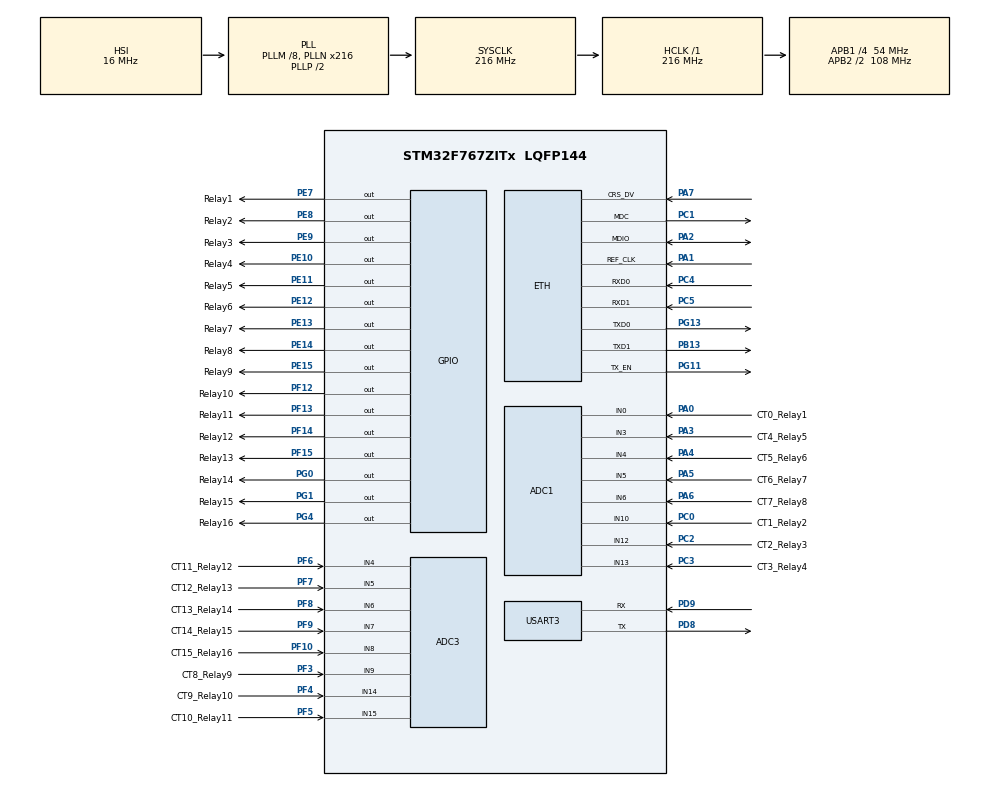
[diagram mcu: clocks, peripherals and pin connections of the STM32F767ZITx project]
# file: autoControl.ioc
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ADC1.Channel-0\#ChannelRegularConversion=ADC_CHANNEL_0
ADC1.Channel-13\#ChannelRegularConversion=ADC_CHANNEL_10
ADC1.Channel-14\#ChannelRegularConversion=ADC_CHANNEL_12
ADC1.Channel-15\#ChannelRegularConversion=ADC_CHANNEL_13
ADC1.Channel-16\#ChannelRegularConversion=ADC_CHANNEL_3
ADC1.Channel-17\#ChannelRegularConversion=ADC_CHANNEL_4
ADC1.Channel-18\#ChannelRegularConversion=ADC_CHANNEL_5
ADC1.Channel-19\#ChannelRegularConversion=ADC_CHANNEL_6
ADC1.Channel-20\#ChannelRegularConversion=ADC_CHANNEL_VREFINT
ADC1.DMAContinuousRequests=ENABLE
ADC1.EOCSelection=ADC_EOC_SINGLE_CONV
ADC1.ExternalTrigConv=ADC_EXTERNALTRIGCONV_T2_TRGO
ADC1.ExternalTrigConvEdge=ADC_EXTERNALTRIGCONVEDGE_RISING
ADC1.InjNumberOfConversion=0
ADC1.NbrOfConversion=9
ADC1.NbrOfConversionFlag=2
ADC1.Rank-0\#ChannelRegularConversion=1
ADC1.Rank-13\#ChannelRegularConversion=2
ADC1.Rank-14\#ChannelRegularConversion=3
ADC1.Rank-15\#ChannelRegularConversion=4
ADC1.Rank-16\#ChannelRegularConversion=5
ADC1.Rank-17\#ChannelRegularConversion=6
ADC1.Rank-18\#ChannelRegularConversion=7
ADC1.Rank-19\#ChannelRegularConversion=8
ADC1.Rank-20\#ChannelRegularConversion=9
ADC1.SamplingTime-0\#ChannelRegularConversion=ADC_SAMPLETIME_144CYCLES
ADC1.SamplingTime-13\#ChannelRegularConversion=ADC_SAMPLETIME_144CYCLES
ADC1.SamplingTime-14\#ChannelRegularConversion=ADC_SAMPLETIME_144CYCLES
ADC1.SamplingTime-15\#ChannelRegularConversion=ADC_SAMPLETIME_144CYCLES
ADC1.SamplingTime-16\#ChannelRegularConversion=ADC_SAMPLETIME_144CYCLES
ADC1.SamplingTime-17\#ChannelRegularConversion=ADC_SAMPLETIME_144CYCLES
ADC1.SamplingTime-18\#ChannelRegularConversion=ADC_SAMPLETIME_144CYCLES
ADC1.SamplingTime-19\#ChannelRegularConversion=ADC_SAMPLETIME_144CYCLES
ADC1.SamplingTime-20\#ChannelRegularConversion=ADC_SAMPLETIME_480CYCLES
ADC1.ScanConvMode=ADC_SCAN_ENABLE
ADC1.master=1
ADC3.Channel-0\#ChannelRegularConversion=ADC_CHANNEL_9
ADC3.Channel-1\#ChannelRegularConversion=ADC_CHANNEL_14
ADC3.Channel-2\#ChannelRegularConversion=ADC_CHANNEL_15
ADC3.Channel-3\#ChannelRegularConversion=ADC_CHANNEL_4
ADC3.Channel-4\#ChannelRegularConversion=ADC_CHANNEL_5
ADC3.Channel-5\#ChannelRegularConversion=ADC_CHANNEL_6
ADC3.Channel-6\#ChannelRegularConversion=ADC_CHANNEL_7
ADC3.Channel-7\#ChannelRegularConversion=ADC_CHANNEL_8
ADC3.DMAContinuousRequests=ENABLE
ADC3.ExternalTrigConv=ADC_EXTERNALTRIGCONV_T2_TRGO
ADC3.NbrOfConversion=8
ADC3.NbrOfConversionFlag=1
ADC3.Rank-0\#ChannelRegularConversion=1
ADC3.Rank-1\#ChannelRegularConversion=2
ADC3.Rank-2\#ChannelRegularConversion=3
ADC3.Rank-3\#ChannelRegularConversion=4
ADC3.Rank-4\#ChannelRegularConversion=5
ADC3.Rank-5\#ChannelRegularConversion=6
ADC3.Rank-6\#ChannelRegularConversion=7
ADC3.Rank-7\#ChannelRegularConversion=8
ADC3.SamplingTime-0\#ChannelRegularConversion=ADC_SAMPLETIME_144CYCLES
ADC3.SamplingTime-1\#ChannelRegularConversion=ADC_SAMPLETIME_144CYCLES
ADC3.SamplingTime-2\#ChannelRegularConversion=ADC_SAMPLETIME_144CYCLES
ADC3.SamplingTime-3\#ChannelRegularConversion=ADC_SAMPLETIME_144CYCLES
ADC3.SamplingTime-4\#ChannelRegularConversion=ADC_SAMPLETIME_144CYCLES
ADC3.SamplingTime-5\#ChannelRegularConversion=ADC_SAMPLETIME_144CYCLES
ADC3.SamplingTime-6\#ChannelRegularConversion=ADC_SAMPLETIME_144CYCLES
ADC3.SamplingTime-7\#ChannelRegularConversion=ADC_SAMPLETIME_144CYCLES
CORTEX_M7.CPU_DCache=Disabled
CORTEX_M7.CPU_ICache=Enabled
CORTEX_M7.default_mode_Activation=1
Dma.ADC1.0.Direction=DMA_PERIPH_TO_MEMORY
Dma.ADC1.0.FIFOMode=DMA_FIFOMODE_DISABLE
Dma.ADC1.0.Instance=DMA2_Stream0
Dma.ADC1.0.MemDataAlignment=DMA_MDATAALIGN_HALFWORD
Dma.ADC1.0.MemInc=DMA_MINC_ENABLE
Dma.ADC1.0.Mode=DMA_CIRCULAR
Dma.ADC1.0.PeriphDataAlignment=DMA_PDATAALIGN_HALFWORD
Dma.ADC1.0.PeriphInc=DMA_PINC_DISABLE
Dma.ADC1.0.Priority=DMA_PRIORITY_HIGH
Dma.ADC3.1.Direction=DMA_PERIPH_TO_MEMORY
Dma.ADC3.1.FIFOMode=DMA_FIFOMODE_DISABLE
Dma.ADC3.1.Instance=DMA2_Stream1
Dma.ADC3.1.MemDataAlignment=DMA_MDATAALIGN_HALFWORD
Dma.ADC3.1.MemInc=DMA_MINC_ENABLE
Dma.ADC3.1.Mode=DMA_CIRCULAR
Dma.ADC3.1.PeriphDataAlignment=DMA_PDATAALIGN_HALFWORD
Dma.ADC3.1.PeriphInc=DMA_PINC_DISABLE
Dma.ADC3.1.Priority=DMA_PRIORITY_HIGH
Dma.Request0=ADC1
Dma.Request1=ADC3
ETH.MediaInterface=HAL_ETH_RMII_MODE
FREERTOS.Tasks01=defaultTask,0,2048,StartDefaultTask,Default,NULL,Dynamic,NULL,NULL
LWIP.BSP.number=1
LWIP.Version=v2.1.2_Cube
LWIP0.BSP.STBoard=false
LWIP0.BSP.api=BSP_COMPONENT_DRIVER
LWIP0.BSP.component=LAN8742
LWIP0.BSP.instance=LAN8742
LWIP0.BSP.name=Driver_PHY
LWIP0.BSP.semaphore=S_LAN8742
LWIP0.BSP.solution=LAN8742
Mcu.Family=STM32F7
Mcu.Name=STM32F767ZITx
Mcu.Package=LQFP144
NVIC.DMA2_Stream0_IRQn=true\:5\:0\:true\:false\:true\:true\:false\:true\:true
NVIC.DMA2_Stream1_IRQn=true\:5\:0\:false\:false\:true\:true\:false\:true\:true
NVIC.ETH_IRQn=true\:5\:0\:false\:false\:true\:true\:false\:true\:true
NVIC.PriorityGroup=NVIC_PRIORITYGROUP_4
NVIC.TIM6_DAC_IRQn=true\:15\:0\:false\:false\:true\:false\:false\:true\:true
NVIC.TimeBase=TIM6_DAC_IRQn
NVIC.TimeBaseIP=TIM6
PA0/WKUP.GPIO_Label=CT0_Relay1
PA0/WKUP.Signal=ADCx_IN0
PA1.Mode=RMII
PA1.Signal=ETH_REF_CLK
PA13.Mode=Serial_Wire
PA13.Signal=SYS_JTMS-SWDIO
PA14.Mode=Serial_Wire
PA14.Signal=SYS_JTCK-SWCLK
PA2.Mode=RMII
PA2.Signal=ETH_MDIO
PA3.GPIO_Label=CT4_Relay5
PA3.Signal=ADCx_IN3
PA4.GPIO_Label=CT5_Relay6
PA4.Signal=ADCx_IN4
PA5.GPIO_Label=CT6_Relay7
PA5.Signal=ADCx_IN5
PA6.GPIO_Label=CT7_Relay8
PA6.Signal=ADCx_IN6
PA7.Mode=RMII
PA7.Signal=ETH_CRS_DV
PB13.Mode=RMII
PB13.Signal=ETH_TXD1
PC0.GPIO_Label=CT1_Relay2
PC0.Signal=ADCx_IN10
PC1.Mode=RMII
PC1.Signal=ETH_MDC
PC14/OSC32_IN.Mode=LSE-External-Oscillator
PC14/OSC32_IN.Signal=RCC_OSC32_IN
PC15/OSC32_OUT.Mode=LSE-External-Oscillator
PC15/OSC32_OUT.Signal=RCC_OSC32_OUT
PC2.GPIO_Label=CT2_Relay3
PC2.Signal=ADCx_IN12
PC3.GPIO_Label=CT3_Relay4
PC3.Signal=ADCx_IN13
PC4.Mode=RMII
PC4.Signal=ETH_RXD0
PC5.Mode=RMII
PC5.Signal=ETH_RXD1
PD8.Mode=Asynchronous
PD8.Signal=USART3_TX
PD9.Mode=Asynchronous
PD9.Signal=USART3_RX
PE10.GPIO_Label=Relay4
PE10.Signal=GPIO_Output
PE11.GPIO_Label=Relay5
PE11.Signal=GPIO_Output
PE12.GPIO_Label=Relay6
PE12.Signal=GPIO_Output
PE13.GPIO_Label=Relay7
PE13.Signal=GPIO_Output
PE14.GPIO_Label=Relay8
PE14.Signal=GPIO_Output
PE15.GPIO_Label=Relay9
PE15.Signal=GPIO_Output
PE7.GPIO_Label=Relay1
PE7.Signal=GPIO_Output
PE8.GPIO_Label=Relay2
PE8.Signal=GPIO_Output
PE9.GPIO_Label=Relay3
PE9.Signal=GPIO_Output
PF10.Mode=IN8
PF10.GPIO_Label=CT15_Relay16
PF10.Signal=ADC3_IN8
PF12.GPIO_Label=Relay10
PF12.Signal=GPIO_Output
PF13.GPIO_Label=Relay11
PF13.Signal=GPIO_Output
PF14.GPIO_Label=Relay12
PF14.Signal=GPIO_Output
PF15.GPIO_Label=Relay13
PF15.Signal=GPIO_Output
PF3.Mode=IN9
PF3.GPIO_Label=CT8_Relay9
PF3.Signal=ADC3_IN9
PF4.Mode=IN14
PF4.GPIO_Label=CT9_Relay10
PF4.Signal=ADC3_IN14
PF5.Mode=IN15
PF5.GPIO_Label=CT10_Relay11
PF5.Signal=ADC3_IN15
PF6.Mode=IN4
PF6.GPIO_Label=CT11_Relay12
PF6.Signal=ADC3_IN4
PF7.Mode=IN5
PF7.GPIO_Label=CT12_Relay13
PF7.Signal=ADC3_IN5
PF8.Mode=IN6
PF8.GPIO_Label=CT13_Relay14
PF8.Signal=ADC3_IN6
PF9.Mode=IN7
PF9.GPIO_Label=CT14_Relay15
PF9.Signal=ADC3_IN7
PG0.GPIO_Label=Relay14
PG0.Signal=GPIO_Output
PG1.GPIO_Label=Relay15
PG1.Signal=GPIO_Output
PG11.Mode=RMII
PG11.Signal=ETH_TX_EN
PG13.Mode=RMII
PG13.Signal=ETH_TXD0
PG4.GPIO_Label=Relay16
PG4.Signal=GPIO_Output
PH0/OSC_IN.Mode=HSE-External-Oscillator
PH0/OSC_IN.Signal=RCC_OSC_IN
PH1/OSC_OUT.Mode=HSE-External-Oscillator
PH1/OSC_OUT.Signal=RCC_OSC_OUT
ProjectManager.HeapSize=0x200
ProjectManager.StackSize=0x400
ProjectManager.TargetToolchain=MDK-ARM V5.32
RCC.AHBFreq_Value=216000000
RCC.APB1CLKDivider=RCC_HCLK_DIV4
RCC.APB1Freq_Value=54000000
RCC.APB1TimFreq_Value=108000000
RCC.APB2CLKDivider=RCC_HCLK_DIV2
RCC.APB2Freq_Value=108000000
RCC.APB2TimFreq_Value=216000000
RCC.CortexFreq_Value=216000000
RCC.HCLKFreq_Value=216000000
RCC.HSE_VALUE=25000000
RCC.HSI_VALUE=16000000
RCC.PLLM=8
RCC.PLLN=216
RCC.PLLQ=9
RCC.RTCClockSelection=RCC_RTCCLKSOURCE_LSE
RCC.SYSCLKFreq_VALUE=216000000
RCC.SYSCLKSource=RCC_SYSCLKSOURCE_PLLCLK
RCC.USBFreq_Value=48000000
RCC.VCOOutputFreq_Value=432000000
SH.ADCx_IN0.0=ADC1_IN0,IN0
SH.ADCx_IN10.0=ADC1_IN10,IN10
SH.ADCx_IN12.0=ADC1_IN12,IN12
SH.ADCx_IN13.0=ADC1_IN13,IN13
SH.ADCx_IN3.0=ADC1_IN3,IN3
SH.ADCx_IN4.0=ADC1_IN4,IN4
SH.ADCx_IN5.0=ADC1_IN5,IN5
SH.ADCx_IN6.0=ADC1_IN6,IN6
TIM2.MasterOutputTrigger=TIM_TRGO_UPDATE
TIM2.Period=499
TIM2.Prescaler=107
TIM2.TIM_MasterOutputTrigger=TIM_TRGO_UPDATE
USART3.VirtualMode-Asynchronous=VM_ASYNC
VP_ADC1_Vref_Input.Mode=IN-Vrefint
VP_FREERTOS_VS_CMSIS_V1.Mode=CMSIS_V1
VP_LWIP_VS_Enabled.Mode=Enabled
VP_MBEDTLS_VS_MBEDTLS.Mode=Enabled
VP_RNG_VS_RNG.Mode=RNG_Activate
VP_RTC_VS_RTC_Activate.Mode=RTC_Enabled
VP_SYS_VS_tim6.Mode=TIM6
VP_TIM2_VS_ClockSourceINT.Mode=Internal
board=custom

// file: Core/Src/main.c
/* USER CODE BEGIN Header */
/**
  ******************************************************************************
  * @file           : main.c
  * @brief          : Main program body
  ******************************************************************************
  * @attention
  *
  * Copyright (c) 2026 STMicroelectronics.
  * All rights reserved.
  *
  * This software is licensed under terms that can be found in the LICENSE file
  * in the root directory of this software component.
  * If no LICENSE file comes with this software, it is provided AS-IS.
  *
  ******************************************************************************
  */
/* USER CODE END Header */
#include "main.h"
#include "cmsis_os.h"
#include "lwip.h"
#include "mbedtls.h"

/* USER CODE BEGIN Includes */
#include <stdio.h>
#include <string.h>
#include "board_relay.h"
#include "cluster_service.h"
#include "../../App/Config/device_config.h"
#include "http_service.h"
#include "control_service.h"
#include "mqtt_link_service.h"
#include "discovery_service.h"
#include "adc_service.h"
#include "relay_protection.h"
#include "scheduler.h"
#include "time_sync_service.h"
#include "https_client_service.h"
#include "lwip/stats.h"
#include "lwip/dhcp.h"
#include "lwip/ip4_addr.h"
#include "lwip/prot/dhcp.h"
#include "stm32f7xx_hal_eth.h"
#include "lan8742.h"
#include "FreeRTOS.h"
#include "portable.h"
#include "task.h"

/* USER CODE END Includes */

ADC_HandleTypeDef hadc1;
DMA_HandleTypeDef hdma_adc1;
ADC_HandleTypeDef hadc3;
DMA_HandleTypeDef hdma_adc3;

RNG_HandleTypeDef hrng;

RTC_HandleTypeDef hrtc;

TIM_HandleTypeDef htim2;

UART_HandleTypeDef huart3;

osThreadId defaultTaskHandle;
/* USER CODE BEGIN PV */
extern struct netif gnetif;
extern ETH_HandleTypeDef heth;
extern lan8742_Object_t LAN8742;
extern volatile uint32_t g_eth_irq_count;
extern volatile uint32_t g_eth_rx_cplt_count;
extern volatile uint32_t g_eth_link_thread_started;
extern volatile uint32_t g_eth_link_thread_loops;
extern volatile int32_t g_eth_last_phy_link_state;
extern volatile uint32_t g_eth_link_up_events;
extern volatile uint32_t g_eth_link_down_events;
extern volatile int32_t g_eth_phy_disable_power_status;
extern volatile int32_t g_eth_phy_start_autoneg_status;
extern volatile uint32_t g_eth_phy_bcr_after_cfg;
extern volatile uint32_t g_eth_phy_bsr_after_cfg;
extern volatile uint32_t g_eth_phy_physcsr_after_cfg;
extern volatile uint32_t g_eth_phy_retry_count;
extern volatile int32_t g_eth_phy_forced_mode;
extern volatile uint32_t g_eth_tx_packets;
extern volatile uint32_t g_eth_tx_free_packets;

static char g_uart_message[384];
static char g_ip_text[16];
static char g_mask_text[16];
static char g_gw_text[16];
static uint32_t next_dhcp_report_ms = 0U;
static const uint32_t g_dhcp_report_interval_ms = 2000U;
static uint8_t g_last_link_up = 0xFFU;
static uint8_t g_last_dhcp_bound = 0xFFU;
static uint8_t g_last_dhcp_state = 0xFFU;

/* USER CODE END PV */

void SystemClock_Config(void);
static void MPU_Config(void);
static void MX_GPIO_Init(void);
static void MX_DMA_Init(void);
static void MX_ADC1_Init(void);
static void MX_ADC3_Init(void);
static void MX_TIM2_Init(void);
static void MX_USART3_UART_Init(void);
static void MX_RNG_Init(void);
static void MX_RTC_Init(void);
void StartDefaultTask(void const * argument);

/* USER CODE BEGIN PFP */
static void uart3_write(const char *text);
void lwip_platform_assert(const char *msg, int line, const char *file);
static void log_startup_banner(void);
static const char *dhcp_state_to_string(uint8_t state);
static void log_link_state(uint8_t link_up);
static void log_dhcp_state(void);
static void disable_unaligned_trap_for_lwip(void);
__attribute__((noinline, optnone, used)) static void aeabi_copy_bytes_forward(void *dst, const void *src, size_t len);
__attribute__((noinline, optnone, used)) static void aeabi_move_bytes_safe(void *dst, const void *src, size_t len);
void __aeabi_memcpy(void *dest, const void *src, size_t n);
void __aeabi_memcpy4(void *dest, const void *src, size_t n);
void __aeabi_memcpy8(void *dest, const void *src, size_t n);
void __aeabi_memmove(void *dest, const void *src, size_t n);
void __aeabi_memmove4(void *dest, const void *src, size_t n);
void __aeabi_memmove8(void *dest, const void *src, size_t n);

__asm(".global __use_no_semihosting_swi");

/* USER CODE END PFP */

/* USER CODE BEGIN 0 */
__attribute__((noinline, optnone, used)) static void aeabi_copy_bytes_forward(void *dst, const void *src, size_t len)
{
  volatile uint8_t *dst_bytes = (volatile uint8_t *)dst;
  const volatile uint8_t *src_bytes = (const volatile uint8_t *)src;
  size_t i;

  for (i = 0U; i < len; ++i)
  {
    dst_bytes[i] = src_bytes[i];
  }
}

__attribute__((noinline, optnone, used)) static void aeabi_move_bytes_safe(void *dst, const void *src, size_t len)
{
  volatile uint8_t *dst_bytes = (volatile uint8_t *)dst;
  const volatile uint8_t *src_bytes = (const volatile uint8_t *)src;
  size_t i;

  if ((dst_bytes == src_bytes) || (len == 0U))
  {
    return;
  }

  if (dst_bytes < src_bytes)
  {
    aeabi_copy_bytes_forward((void *)dst_bytes, (const void *)src_bytes, len);
    return;
  }

  for (i = len; i > 0U; --i)
  {
    dst_bytes[i - 1U] = src_bytes[i - 1U];
  }
}

void __aeabi_memcpy(void *dest, const void *src, size_t n)
{
  aeabi_copy_bytes_forward(dest, src, n);
}

void __aeabi_memcpy4(void *dest, const void *src, size_t n)
{
  aeabi_copy_bytes_forward(dest, src, n);
}

void __aeabi_memcpy8(void *dest, const void *src, size_t n)
{
  aeabi_copy_bytes_forward(dest, src, n);
}

void __aeabi_memmove(void *dest, const void *src, size_t n)
{
  aeabi_move_bytes_safe(dest, src, n);
}

void __aeabi_memmove4(void *dest, const void *src, size_t n)
{
  aeabi_move_bytes_safe(dest, src, n);
}

void __aeabi_memmove8(void *dest, const void *src, size_t n)
{
  aeabi_move_bytes_safe(dest, src, n);
}

static void uart3_write(const char *text)
{
  size_t len = strlen(text);

  if (len > 0U)
  {
    (void)HAL_UART_Transmit(&huart3, (uint8_t *)text, (uint16_t)len, 100U);
  }
}

int fputc(int ch, FILE *f)
{
  uint8_t byte = (uint8_t)ch;
  (void)f;

  if (huart3.Instance != NULL)
  {
    (void)HAL_UART_Transmit(&huart3, &byte, 1U, 10U);
  }

  return ch;
}

void _ttywrch(int ch)
{
  (void)fputc(ch, stdout);
}

void _sys_exit(int return_code)
{
  (void)return_code;
  while (1)
  {
  }
}

void lwip_platform_assert(const char *msg, int line, const char *file)
{
  (void)snprintf(g_uart_message, sizeof(g_uart_message),
                 "\r\n[lwip] assert \"%s\" line=%d file=%s\r\n",
                 (msg != NULL) ? msg : "?",
                 line,
                 (file != NULL) ? file : "?");
  uart3_write(g_uart_message);
}

static void log_startup_banner(void)
{
  cluster_service_state_t cluster_state;

  cluster_service_get_state(&cluster_state);
  (void)snprintf(g_uart_message, sizeof(g_uart_message),
                 "[boot] rtc lse=%u source=%u quality=%u bdcr=0x%08lX drive=%lu bypass=%u\r\n",
                 (unsigned int)cluster_state.rtc_lse_ready,
                 (unsigned int)cluster_state.time_source,
                 (unsigned int)cluster_state.time_quality,
                 (unsigned long)RCC->BDCR,
                 (unsigned long)((RCC->BDCR & RCC_BDCR_LSEDRV) >>
                                 RCC_BDCR_LSEDRV_Pos),
                 (unsigned int)(((RCC->BDCR & RCC_BDCR_LSEBYP) != 0U)
                                ? 1U
                                : 0U));
  uart3_write(g_uart_message);
  uart3_write("\r\n[boot] autoControl startup complete\r\n");
}

static const char *dhcp_state_to_string(uint8_t state)
{
  switch (state)
  {
    case DHCP_STATE_OFF: return "off";
    case DHCP_STATE_REQUESTING: return "requesting";
    case DHCP_STATE_INIT: return "init";
    case DHCP_STATE_REBOOTING: return "rebooting";
    case DHCP_STATE_REBINDING: return "rebinding";
    case DHCP_STATE_RENEWING: return "renewing";
    case DHCP_STATE_SELECTING: return "selecting";
    case DHCP_STATE_INFORMING: return "informing";
    case DHCP_STATE_CHECKING: return "checking";
    case DHCP_STATE_BOUND: return "bound";
    case DHCP_STATE_RELEASING: return "releasing";
    case DHCP_STATE_BACKING_OFF: return "backing_off";
    case DHCP_STATE_PERMANENT: return "permanent";
    default: return "unknown";
  }
}

static void log_link_state(uint8_t link_up)
{
  (void)snprintf(g_uart_message, sizeof(g_uart_message),
                 (link_up != 0U) ? "[net] link up phy=%ld\r\n" : "[net] link down phy=%ld\r\n",
                 (long)g_eth_last_phy_link_state);
  uart3_write(g_uart_message);
}

static void log_dhcp_state(void)
{
  struct dhcp *dhcp = netif_dhcp_data(&gnetif);
  uint8_t bound = dhcp_supplied_address(&gnetif);
  uint8_t state = (dhcp != NULL) ? dhcp->state : DHCP_STATE_OFF;

  if (bound != 0U)
  {
    (void)ip4addr_ntoa_r(netif_ip4_addr(&gnetif), g_ip_text, sizeof(g_ip_text));
    (void)ip4addr_ntoa_r(netif_ip4_netmask(&gnetif), g_mask_text, sizeof(g_mask_text));
    (void)ip4addr_ntoa_r(netif_ip4_gw(&gnetif), g_gw_text, sizeof(g_gw_text));
    (void)snprintf(g_uart_message, sizeof(g_uart_message),
                   "[net] dhcp bound ip=%s mask=%s gw=%s\r\n",
                   g_ip_text, g_mask_text, g_gw_text);
  }
  else
  {
    (void)snprintf(g_uart_message, sizeof(g_uart_message),
                   "[net] dhcp %s\r\n",
                   dhcp_state_to_string(state));
  }
  uart3_write(g_uart_message);
}

static void disable_unaligned_trap_for_lwip(void)
{
  /*
   * armclang still emits word-sized accesses for some packed lwIP paths.
   * Keep UNALIGN_TRP cleared so a missed packed-field site does not turn
   * normal network traffic into a UsageFault during bring-up.
   */
  SCB->CCR &= ~SCB_CCR_UNALIGN_TRP_Msk;
  __DSB();
  __ISB();
}

/* USER CODE END 0 */

int main(void)
{

  /* MPU Configuration--------------------------------------------------------*/
  MPU_Config();

  /* Enable the CPU Cache */

  /* Enable I-Cache---------------------------------------------------------*/
  SCB_EnableICache();

  /* Enable D-Cache---------------------------------------------------------*/
  /* Keep D-Cache disabled while validating the ETH DMA RX/TX path. */
  /* SCB_EnableDCache(); */

  /* MCU Configuration--------------------------------------------------------*/

  /* Reset of all peripherals, Initializes the Flash interface and the Systick. */
  HAL_Init();

  /* USER CODE BEGIN Init */
  disable_unaligned_trap_for_lwip();

  /* USER CODE END Init */

  /* Configure the system clock */
  SystemClock_Config();

  /* Initialize all configured peripherals */
  MX_GPIO_Init();
  MX_DMA_Init();
  MX_ADC1_Init();
  MX_ADC3_Init();
  MX_TIM2_Init();
  MX_USART3_UART_Init();
  uart3_write("\r\n[boot] uart ready\r\n");
  uart3_write("[boot] pre relay off 1\r\n");
  (void)board_relay_apply_mask(0U);  /* hard OFF before config/protection init */
  uart3_write("[boot] post relay off 1\r\n");
  uart3_write("[boot] pre rng\r\n");
  MX_RNG_Init();
  uart3_write("[boot] post rng\r\n");
  uart3_write("[boot] pre mbedtls\r\n");
  MX_MBEDTLS_Init();
  uart3_write("[boot] post mbedtls\r\n");
  /* USER CODE BEGIN 2 */
  uart3_write("[boot] pre config\r\n");
  device_config_init();
  uart3_write("[boot] post config\r\n");
  uart3_write("[boot] pre rtc\r\n");
  MX_RTC_Init();
  uart3_write("[boot] post rtc\r\n");
  uart3_write("[boot] pre protection\r\n");
  relay_protection_init();  /* force all relays OFF before config applies startup mask */
  uart3_write("[boot] post protection\r\n");
  uart3_write("[boot] pre scheduler\r\n");
  scheduler_init();
  uart3_write("[boot] post scheduler\r\n");
  /* Startup relay mask is now managed by relay_protection:
     boot_default_on / remember_state become pending requests
     that are only applied after boot delay expires. */
  uart3_write("[boot] pre relay off 2\r\n");
  (void)board_relay_apply_mask(0U);  /* all OFF — protection module owns boot state */
  uart3_write("[boot] post relay off 2\r\n");
  uart3_write("[boot] pre cluster\r\n");
  cluster_service_init();
  uart3_write("[boot] post cluster\r\n");
  log_startup_banner();

  /* USER CODE END 2 */

  /* Create the thread(s) */
  /* definition and creation of defaultTask */
  /* defaultTask stack is now statically allocated to guard against heap-
     edge corruption of the FreeRTOS stack canary.  3072 words (12 KB)
     provides headroom for the 3616-byte device_config_t copy in save paths. */
  static StackType_t defaultTaskStack[4096];
  static StaticTask_t defaultTaskTCB;
  defaultTaskHandle = xTaskCreateStatic((TaskFunction_t)StartDefaultTask, "defaultTask",
                                        4096, NULL,
                                        osPriorityNormal, defaultTaskStack,
                                        &defaultTaskTCB);

  /* Start scheduler */
  osKernelStart();

  /* We should never get here as control is now taken by the scheduler */

  /* Infinite loop */
  while (1)
  {

  }
}

void SystemClock_Config(void)
{
  RCC_OscInitTypeDef RCC_OscInitStruct = {0};
  RCC_ClkInitTypeDef RCC_ClkInitStruct = {0};

  /** Configure the main internal regulator output voltage
  */
  __HAL_RCC_PWR_CLK_ENABLE();
  __HAL_PWR_VOLTAGESCALING_CONFIG(PWR_REGULATOR_VOLTAGE_SCALE1);

  /** Initializes the RCC Oscillators according to the specified parameters
  * in the RCC_OscInitTypeDef structure.
  */
  RCC_OscInitStruct.OscillatorType = RCC_OSCILLATORTYPE_HSI;
  RCC_OscInitStruct.HSIState = RCC_HSI_ON;
  RCC_OscInitStruct.HSICalibrationValue = RCC_HSICALIBRATION_DEFAULT;
  RCC_OscInitStruct.PLL.PLLState = RCC_PLL_ON;
  RCC_OscInitStruct.PLL.PLLSource = RCC_PLLSOURCE_HSI;
  RCC_OscInitStruct.PLL.PLLM = 8;
  RCC_OscInitStruct.PLL.PLLN = 216;
  RCC_OscInitStruct.PLL.PLLP = RCC_PLLP_DIV2;
  RCC_OscInitStruct.PLL.PLLQ = 9;
  RCC_OscInitStruct.PLL.PLLR = 2;
  if (HAL_RCC_OscConfig(&RCC_OscInitStruct) != HAL_OK)
  {
    Error_Handler();
  }

  /** Activate the Over-Drive mode
  */
  if (HAL_PWREx_EnableOverDrive() != HAL_OK)
  {
    Error_Handler();
  }

  /** Initializes the CPU, AHB and APB buses clocks
  */
  RCC_ClkInitStruct.ClockType = RCC_CLOCKTYPE_HCLK|RCC_CLOCKTYPE_SYSCLK
                              |RCC_CLOCKTYPE_PCLK1|RCC_CLOCKTYPE_PCLK2;
  RCC_ClkInitStruct.SYSCLKSource = RCC_SYSCLKSOURCE_PLLCLK;
  RCC_ClkInitStruct.AHBCLKDivider = RCC_SYSCLK_DIV1;
  RCC_ClkInitStruct.APB1CLKDivider = RCC_HCLK_DIV4;
  RCC_ClkInitStruct.APB2CLKDivider = RCC_HCLK_DIV2;

  if (HAL_RCC_ClockConfig(&RCC_ClkInitStruct, FLASH_LATENCY_7) != HAL_OK)
  {
    Error_Handler();
  }
}

static void MX_ADC1_Init(void)
{

  ADC_ChannelConfTypeDef sConfig = {0};

  /** Configure the global features of the ADC (Clock, Resolution, Data Alignment and number of conversion)
  */
  hadc1.Instance = ADC1;
  hadc1.Init.ClockPrescaler = ADC_CLOCK_SYNC_PCLK_DIV4;
  hadc1.Init.Resolution = ADC_RESOLUTION_12B;
  hadc1.Init.ScanConvMode = ADC_SCAN_ENABLE;
  hadc1.Init.ContinuousConvMode = DISABLE;
  hadc1.Init.DiscontinuousConvMode = DISABLE;
  hadc1.Init.ExternalTrigConvEdge = ADC_EXTERNALTRIGCONVEDGE_RISING;
  hadc1.Init.ExternalTrigConv = ADC_EXTERNALTRIGCONV_T2_TRGO;
  hadc1.Init.DataAlign = ADC_DATAALIGN_RIGHT;
  hadc1.Init.NbrOfConversion = 9;
  hadc1.Init.DMAContinuousRequests = ENABLE;
  hadc1.Init.EOCSelection = ADC_EOC_SINGLE_CONV;
  if (HAL_ADC_Init(&hadc1) != HAL_OK)
  {
    Error_Handler();
  }

  /** Configure for the selected ADC regular channel its corresponding rank in the sequencer and its sample time.
  */
  sConfig.Channel = ADC_CHANNEL_0;
  sConfig.Rank = ADC_REGULAR_RANK_1;
  sConfig.SamplingTime = ADC_SAMPLETIME_144CYCLES;
  if (HAL_ADC_ConfigChannel(&hadc1, &sConfig) != HAL_OK) { Error_Handler(); }
  sConfig.Channel = ADC_CHANNEL_10;
  sConfig.Rank = ADC_REGULAR_RANK_2;
  if (HAL_ADC_ConfigChannel(&hadc1, &sConfig) != HAL_OK) { Error_Handler(); }
  sConfig.Channel = ADC_CHANNEL_12;
  sConfig.Rank = ADC_REGULAR_RANK_3;
  if (HAL_ADC_ConfigChannel(&hadc1, &sConfig) != HAL_OK) { Error_Handler(); }
  sConfig.Channel = ADC_CHANNEL_13;
  sConfig.Rank = ADC_REGULAR_RANK_4;
  if (HAL_ADC_ConfigChannel(&hadc1, &sConfig) != HAL_OK) { Error_Handler(); }
  sConfig.Channel = ADC_CHANNEL_3;
  sConfig.Rank = ADC_REGULAR_RANK_5;
  if (HAL_ADC_ConfigChannel(&hadc1, &sConfig) != HAL_OK) { Error_Handler(); }
  sConfig.Channel = ADC_CHANNEL_4;
  sConfig.Rank = ADC_REGULAR_RANK_6;
  if (HAL_ADC_ConfigChannel(&hadc1, &sConfig) != HAL_OK) { Error_Handler(); }
  sConfig.Channel = ADC_CHANNEL_5;
  sConfig.Rank = ADC_REGULAR_RANK_7;
  if (HAL_ADC_ConfigChannel(&hadc1, &sConfig) != HAL_OK) { Error_Handler(); }
  sConfig.Channel = ADC_CHANNEL_6;
  sConfig.Rank = ADC_REGULAR_RANK_8;
  if (HAL_ADC_ConfigChannel(&hadc1, &sConfig) != HAL_OK) { Error_Handler(); }
  sConfig.Channel = ADC_CHANNEL_VREFINT;
  sConfig.Rank = ADC_REGULAR_RANK_9;
  sConfig.SamplingTime = ADC_SAMPLETIME_480CYCLES;
  if (HAL_ADC_ConfigChannel(&hadc1, &sConfig) != HAL_OK) { Error_Handler(); }

}

static void MX_ADC3_Init(void)
{
  ADC_ChannelConfTypeDef sConfig = {0};
  __HAL_RCC_ADC3_CLK_ENABLE();
  __HAL_RCC_GPIOF_CLK_ENABLE();
  hadc3.Instance = ADC3;
  hadc3.Init.ClockPrescaler = ADC_CLOCK_SYNC_PCLK_DIV4;
  hadc3.Init.Resolution = ADC_RESOLUTION_12B;
  hadc3.Init.ScanConvMode = ADC_SCAN_ENABLE;
  hadc3.Init.ContinuousConvMode = DISABLE;
  hadc3.Init.DiscontinuousConvMode = DISABLE;
  hadc3.Init.ExternalTrigConvEdge = ADC_EXTERNALTRIGCONVEDGE_RISING;
  hadc3.Init.ExternalTrigConv = ADC_EXTERNALTRIGCONV_T2_TRGO;
  hadc3.Init.DataAlign = ADC_DATAALIGN_RIGHT;
  hadc3.Init.NbrOfConversion = 8;
  hadc3.Init.DMAContinuousRequests = ENABLE;
  hadc3.Init.EOCSelection = ADC_EOC_SINGLE_CONV;
  if (HAL_ADC_Init(&hadc3) != HAL_OK) { Error_Handler(); }
  sConfig.Channel = ADC_CHANNEL_9;  sConfig.Rank = ADC_REGULAR_RANK_1; sConfig.SamplingTime = ADC_SAMPLETIME_144CYCLES;
  if (HAL_ADC_ConfigChannel(&hadc3, &sConfig) != HAL_OK) { Error_Handler(); }
  sConfig.Channel = ADC_CHANNEL_14; sConfig.Rank = ADC_REGULAR_RANK_2;
  if (HAL_ADC_ConfigChannel(&hadc3, &sConfig) != HAL_OK) { Error_Handler(); }
  sConfig.Channel = ADC_CHANNEL_15; sConfig.Rank = ADC_REGULAR_RANK_3;
  if (HAL_ADC_ConfigChannel(&hadc3, &sConfig) != HAL_OK) { Error_Handler(); }
  sConfig.Channel = ADC_CHANNEL_4;  sConfig.Rank = ADC_REGULAR_RANK_4;
  if (HAL_ADC_ConfigChannel(&hadc3, &sConfig) != HAL_OK) { Error_Handler(); }
  sConfig.Channel = ADC_CHANNEL_5;  sConfig.Rank = ADC_REGULAR_RANK_5;
  if (HAL_ADC_ConfigChannel(&hadc3, &sConfig) != HAL_OK) { Error_Handler(); }
  sConfig.Channel = ADC_CHANNEL_6;  sConfig.Rank = ADC_REGULAR_RANK_6;
  if (HAL_ADC_ConfigChannel(&hadc3, &sConfig) != HAL_OK) { Error_Handler(); }
  sConfig.Channel = ADC_CHANNEL_7;  sConfig.Rank = ADC_REGULAR_RANK_7;
  if (HAL_ADC_ConfigChannel(&hadc3, &sConfig) != HAL_OK) { Error_Handler(); }
  sConfig.Channel = ADC_CHANNEL_8;  sConfig.Rank = ADC_REGULAR_RANK_8;
  if (HAL_ADC_ConfigChannel(&hadc3, &sConfig) != HAL_OK) { Error_Handler(); }
}

static void MX_TIM2_Init(void)
{
  TIM_MasterConfigTypeDef sMasterConfig = {0};

  htim2.Instance = TIM2;
  htim2.Init.Prescaler = 107U;
  htim2.Init.CounterMode = TIM_COUNTERMODE_UP;
  htim2.Init.Period = 499U;
  htim2.Init.ClockDivision = TIM_CLOCKDIVISION_DIV1;
  htim2.Init.AutoReloadPreload = TIM_AUTORELOAD_PRELOAD_DISABLE;
  if (HAL_TIM_Base_Init(&htim2) != HAL_OK)
  {
    Error_Handler();
  }

  sMasterConfig.MasterOutputTrigger = TIM_TRGO_UPDATE;
  sMasterConfig.MasterSlaveMode = TIM_MASTERSLAVEMODE_DISABLE;
  if (HAL_TIMEx_MasterConfigSynchronization(&htim2, &sMasterConfig) != HAL_OK)
  {
    Error_Handler();
  }
}

static void MX_DMA_Init(void)
{
  __HAL_RCC_DMA2_CLK_ENABLE();

  HAL_NVIC_SetPriority(DMA2_Stream0_IRQn, 6, 0);
  HAL_NVIC_EnableIRQ(DMA2_Stream0_IRQn);

  HAL_NVIC_SetPriority(DMA2_Stream1_IRQn, 6, 0);
  HAL_NVIC_EnableIRQ(DMA2_Stream1_IRQn);
}

static void MX_RNG_Init(void)
{

  hrng.Instance = RNG;
  if (HAL_RNG_Init(&hrng) != HAL_OK)
  {
    Error_Handler();
  }

}

static void MX_RTC_Init(void)
{
  if (__HAL_RCC_GET_FLAG(RCC_FLAG_LSERDY) == RESET)
  {
    memset(&hrtc, 0, sizeof(hrtc));
    return;
  }

  hrtc.Instance = RTC;
  hrtc.Init.HourFormat = RTC_HOURFORMAT_24;
  hrtc.Init.AsynchPrediv = 127U;
  hrtc.Init.SynchPrediv = 255U;
  hrtc.Init.OutPut = RTC_OUTPUT_DISABLE;
  hrtc.Init.OutPutPolarity = RTC_OUTPUT_POLARITY_HIGH;
  hrtc.Init.OutPutType = RTC_OUTPUT_TYPE_OPENDRAIN;
  if (HAL_RTC_Init(&hrtc) != HAL_OK)
  {
    memset(&hrtc, 0, sizeof(hrtc));
  }
}

static void MX_USART3_UART_Init(void)
{

  huart3.Instance = USART3;
  huart3.Init.BaudRate = 115200;
  huart3.Init.WordLength = UART_WORDLENGTH_8B;
  huart3.Init.StopBits = UART_STOPBITS_1;
  huart3.Init.Parity = UART_PARITY_NONE;
  huart3.Init.Mode = UART_MODE_TX_RX;
  huart3.Init.HwFlowCtl = UART_HWCONTROL_NONE;
  huart3.Init.OverSampling = UART_OVERSAMPLING_16;
  huart3.Init.OneBitSampling = UART_ONE_BIT_SAMPLE_DISABLE;
  huart3.AdvancedInit.AdvFeatureInit = UART_ADVFEATURE_NO_INIT;
  if (HAL_UART_Init(&huart3) != HAL_OK)
  {
    Error_Handler();
  }

}

static void MX_GPIO_Init(void)
{
  GPIO_InitTypeDef GPIO_InitStruct = {0};

  /* GPIO Ports Clock Enable */
  __HAL_RCC_GPIOH_CLK_ENABLE();
  __HAL_RCC_GPIOC_CLK_ENABLE();
  __HAL_RCC_GPIOA_CLK_ENABLE();
  __HAL_RCC_GPIOF_CLK_ENABLE();
  __HAL_RCC_GPIOG_CLK_ENABLE();
  __HAL_RCC_GPIOE_CLK_ENABLE();
  __HAL_RCC_GPIOB_CLK_ENABLE();
  __HAL_RCC_GPIOD_CLK_ENABLE();

  /*Configure GPIO pin Output Level */
  HAL_GPIO_WritePin(GPIOF, Relay10_Pin|Relay11_Pin|Relay12_Pin|Relay13_Pin, GPIO_PIN_RESET);

  /*Configure GPIO pin Output Level */
  HAL_GPIO_WritePin(GPIOG, Relay14_Pin|Relay15_Pin|Relay16_Pin, GPIO_PIN_RESET);

  /*Configure GPIO pin Output Level */
  HAL_GPIO_WritePin(GPIOE, Relay1_Pin|Relay2_Pin|Relay3_Pin|Relay4_Pin
                          |Relay5_Pin|Relay6_Pin|Relay7_Pin|Relay8_Pin
                          |Relay9_Pin, GPIO_PIN_RESET);

  /*Configure GPIO pins : Relay10_Pin Relay11_Pin Relay12_Pin Relay13_Pin */
  GPIO_InitStruct.Pin = Relay10_Pin|Relay11_Pin|Relay12_Pin|Relay13_Pin;
  GPIO_InitStruct.Mode = GPIO_MODE_OUTPUT_PP;
  GPIO_InitStruct.Pull = GPIO_NOPULL;
  GPIO_InitStruct.Speed = GPIO_SPEED_FREQ_LOW;
  HAL_GPIO_Init(GPIOF, &GPIO_InitStruct);

  /*Configure GPIO pins : Relay14_Pin Relay15_Pin Relay16_Pin */
  GPIO_InitStruct.Pin = Relay14_Pin|Relay15_Pin|Relay16_Pin;
  GPIO_InitStruct.Mode = GPIO_MODE_OUTPUT_PP;
  GPIO_InitStruct.Pull = GPIO_NOPULL;
  GPIO_InitStruct.Speed = GPIO_SPEED_FREQ_LOW;
  HAL_GPIO_Init(GPIOG, &GPIO_InitStruct);

  /*Configure GPIO pins : Relay1_Pin Relay2_Pin Relay3_Pin Relay4_Pin
                           Relay5_Pin Relay6_Pin Relay7_Pin Relay8_Pin
                           Relay9_Pin */
  GPIO_InitStruct.Pin = Relay1_Pin|Relay2_Pin|Relay3_Pin|Relay4_Pin
                          |Relay5_Pin|Relay6_Pin|Relay7_Pin|Relay8_Pin
                          |Relay9_Pin;
  GPIO_InitStruct.Mode = GPIO_MODE_OUTPUT_PP;
  GPIO_InitStruct.Pull = GPIO_NOPULL;
  GPIO_InitStruct.Speed = GPIO_SPEED_FREQ_LOW;
  HAL_GPIO_Init(GPIOE, &GPIO_InitStruct);

}

void StartDefaultTask(void const * argument)
{
  /* init code for LWIP */
  MX_LWIP_Init();
  uart3_write("[boot] lwip initialized\r\n");
  adc_service_init(&hadc1, &hadc3, &htim2);
  /* relay_protection_init() now called earlier, before device_config_init() */
  next_dhcp_report_ms = HAL_GetTick() + g_dhcp_report_interval_ms;
  /* USER CODE BEGIN 5 */
  /* Infinite loop */
  for(;;)
  {
    uint32_t now = HAL_GetTick();
    static uint32_t last_stack_log_ms = 0U;
    struct dhcp *dhcp = netif_dhcp_data(&gnetif);
    uint8_t link_up = netif_is_link_up(&gnetif) ? 1U : 0U;
    uint8_t dhcp_bound = dhcp_supplied_address(&gnetif) ? 1U : 0U;
    uint8_t dhcp_state = (dhcp != NULL) ? dhcp->state : DHCP_STATE_OFF;

    if (link_up != g_last_link_up)
    {
      g_last_link_up = link_up;
      log_link_state(link_up);
    }

    if ((dhcp_bound != g_last_dhcp_bound) || (dhcp_state != g_last_dhcp_state))
    {
      g_last_dhcp_bound = dhcp_bound;
      g_last_dhcp_state = dhcp_state;
      log_dhcp_state();
      next_dhcp_report_ms = now + g_dhcp_report_interval_ms;
    }
    else if ((link_up != 0U) && (dhcp_bound == 0U) && ((int32_t)(now - next_dhcp_report_ms) >= 0))
    {
      log_dhcp_state();
      next_dhcp_report_ms = now + g_dhcp_report_interval_ms;
    }

    ethernetif_poll_tx_reclaim();
    adc_service_poll();
    relay_protection_poll();

    /* Scheduler + Auto Hold tick */
    {
      uint8_t time_valid;
      uint32_t unix_time = cluster_service_get_unix_time(&time_valid);
      scheduler_tick(HAL_GetTick(), unix_time, time_valid);
    }

    if ((last_stack_log_ms == 0U) || ((int32_t)(now - last_stack_log_ms) >= 30000))
    {
      char stack_msg[160];
      extern UBaseType_t device_config_stack_high_water(void);
      extern UBaseType_t control_queue_stack_high_water(void);
      extern UBaseType_t discovery_service_stack_high_water(void);
      TaskHandle_t tcpip = xTaskGetHandle("tcpip_thread");
      (void)snprintf(stack_msg, sizeof(stack_msg),
                     "[rtos] stacks: def=%lu cfg=%lu ctl=%lu disc=%lu tcpip=%lu heap_min=%lu\r\n",
                     (unsigned long)uxTaskGetStackHighWaterMark(NULL),
                     (unsigned long)device_config_stack_high_water(),
                     (unsigned long)control_queue_stack_high_water(),
                     (unsigned long)discovery_service_stack_high_water(),
                     (unsigned long)(tcpip ? uxTaskGetStackHighWaterMark(tcpip) : 0UL),
                     (unsigned long)xPortGetMinimumEverFreeHeapSize());
      uart3_write(stack_msg);
      last_stack_log_ms = now;
    }

    control_service_poll();
    discovery_service_poll();
    /* backend TCP (:42001) has been retired — commands now flow via MQTT */
    mqtt_link_service_poll();
    https_client_service_poll();
    time_sync_service_poll();
    http_service_poll();
    cluster_service_poll();
    device_config_poll();

    osDelay(100);
  }
  /* USER CODE END 5 */
}

 /* MPU Configuration */

void MPU_Config(void)
{
  MPU_Region_InitTypeDef MPU_InitStruct = {0};

  /* Disables the MPU */
  HAL_MPU_Disable();

  /** Initializes and configures the Region and the memory to be protected
  */
  MPU_InitStruct.Enable = MPU_REGION_ENABLE;
  MPU_InitStruct.Number = MPU_REGION_NUMBER0;
  MPU_InitStruct.BaseAddress = 0x0;
  MPU_InitStruct.Size = MPU_REGION_SIZE_4GB;
  MPU_InitStruct.SubRegionDisable = 0x87;
  MPU_InitStruct.TypeExtField = MPU_TEX_LEVEL0;
  MPU_InitStruct.AccessPermission = MPU_REGION_NO_ACCESS;
  MPU_InitStruct.DisableExec = MPU_INSTRUCTION_ACCESS_DISABLE;
  MPU_InitStruct.IsShareable = MPU_ACCESS_SHAREABLE;
  MPU_InitStruct.IsCacheable = MPU_ACCESS_NOT_CACHEABLE;
  MPU_InitStruct.IsBufferable = MPU_ACCESS_NOT_BUFFERABLE;

  HAL_MPU_ConfigRegion(&MPU_InitStruct);

  /* Keep ETH DMA descriptors and TX staging buffers outside D-Cache. */
  MPU_InitStruct.Enable = MPU_REGION_ENABLE;
  MPU_InitStruct.Number = MPU_REGION_NUMBER1;
  MPU_InitStruct.BaseAddress = 0x2007C000U;
  MPU_InitStruct.Size = MPU_REGION_SIZE_16KB;
  MPU_InitStruct.SubRegionDisable = 0x00;
  MPU_InitStruct.TypeExtField = MPU_TEX_LEVEL0;
  MPU_InitStruct.AccessPermission = MPU_REGION_FULL_ACCESS;
  MPU_InitStruct.DisableExec = MPU_INSTRUCTION_ACCESS_DISABLE;
  MPU_InitStruct.IsShareable = MPU_ACCESS_SHAREABLE;
  MPU_InitStruct.IsCacheable = MPU_ACCESS_NOT_CACHEABLE;
  MPU_InitStruct.IsBufferable = MPU_ACCESS_BUFFERABLE;

  HAL_MPU_ConfigRegion(&MPU_InitStruct);
  /* Enables the MPU */
  HAL_MPU_Enable(MPU_PRIVILEGED_DEFAULT);

}

void HAL_TIM_PeriodElapsedCallback(TIM_HandleTypeDef *htim)
{
  if (htim->Instance == TIM6)
  {
    HAL_IncTick();
  }
}

void Error_Handler(void)
{

  __disable_irq();
  while (1)
  {
  }
}

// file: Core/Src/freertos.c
/* USER CODE BEGIN Header */
/**
  ******************************************************************************
  * File Name          : freertos.c
  * Description        : Code for freertos applications
  ******************************************************************************
  * @attention
  *
  * Copyright (c) 2026 STMicroelectronics.
  * All rights reserved.
  *
  * This software is licensed under terms that can be found in the LICENSE file
  * in the root directory of this software component.
  * If no LICENSE file comes with this software, it is provided AS-IS.
  *
  ******************************************************************************
  */
/* USER CODE END Header */

#include "FreeRTOS.h"
#include "task.h"
#include "main.h"

/* USER CODE BEGIN Includes */
#include <string.h>
#include "stm32f7xx_hal.h"

/* USER CODE END Includes */

/* GetIdleTaskMemory prototype (linked to static allocation support) */
void vApplicationGetIdleTaskMemory( StaticTask_t **ppxIdleTaskTCBBuffer, StackType_t **ppxIdleTaskStackBuffer, uint32_t *pulIdleTaskStackSize );

/* USER CODE BEGIN GET_IDLE_TASK_MEMORY */
static StaticTask_t xIdleTaskTCBBuffer;
static StackType_t xIdleStack[configMINIMAL_STACK_SIZE];

void vApplicationGetIdleTaskMemory( StaticTask_t **ppxIdleTaskTCBBuffer, StackType_t **ppxIdleTaskStackBuffer, uint32_t *pulIdleTaskStackSize )
{
  *ppxIdleTaskTCBBuffer = &xIdleTaskTCBBuffer;
  *ppxIdleTaskStackBuffer = &xIdleStack[0];
  *pulIdleTaskStackSize = configMINIMAL_STACK_SIZE;
  /* place for user code */
}
/* USER CODE END GET_IDLE_TASK_MEMORY */

/* USER CODE BEGIN Application */
extern UART_HandleTypeDef huart3;

void vApplicationStackOverflowHook(TaskHandle_t xTask, char *pcTaskName)
{
  static const char prefix[] = "\r\n[rtos] stack overflow: task=0x";
  static const char delim[] = " name=";
  static const char suffix[] = "\r\n";
  char hex_buf[9];
  uint16_t i;
  uint32_t handle_val = (uint32_t)xTask;

  /* Convert task handle to hex (8 nibbles, bounded) */
  for (i = 0U; i < 8U; i++)
  {
    uint8_t nibble = (uint8_t)((handle_val >> (28U - i * 4U)) & 0x0FU);
    hex_buf[i] = (char)((nibble < 10U) ? ('0' + nibble) : ('A' + nibble - 10U));
  }
  hex_buf[8] = '\0';

  HAL_UART_Transmit(&huart3, (uint8_t *)prefix, sizeof(prefix) - 1U, 100U);
  HAL_UART_Transmit(&huart3, (uint8_t *)hex_buf, 8U, 100U);
  HAL_UART_Transmit(&huart3, (uint8_t *)delim, sizeof(delim) - 1U, 100U);

  if (pcTaskName != NULL)
  {
    /* Bounded output — max 16 chars to avoid strlen on corrupted memory */
    uint16_t len = 0U;
    while (len < 16U && pcTaskName[len] != '\0') { len++; }
    HAL_UART_Transmit(&huart3, (uint8_t *)pcTaskName, len, 100U);
  }
  else
  {
    static const char null_name[] = "(null)";
    HAL_UART_Transmit(&huart3, (uint8_t *)null_name, sizeof(null_name) - 1U, 100U);
  }
  HAL_UART_Transmit(&huart3, (uint8_t *)suffix, sizeof(suffix) - 1U, 100U);

  taskDISABLE_INTERRUPTS();
  for (;;)
  {
  }
}

void vApplicationMallocFailedHook(void)
{
  static const char msg[] = "\r\n[rtos] malloc failed\r\n";

  HAL_UART_Transmit(&huart3, (uint8_t *)msg, sizeof(msg) - 1U, 100U);
  taskDISABLE_INTERRUPTS();
  for (;;)
  {
  }
}

/* USER CODE END Application */
